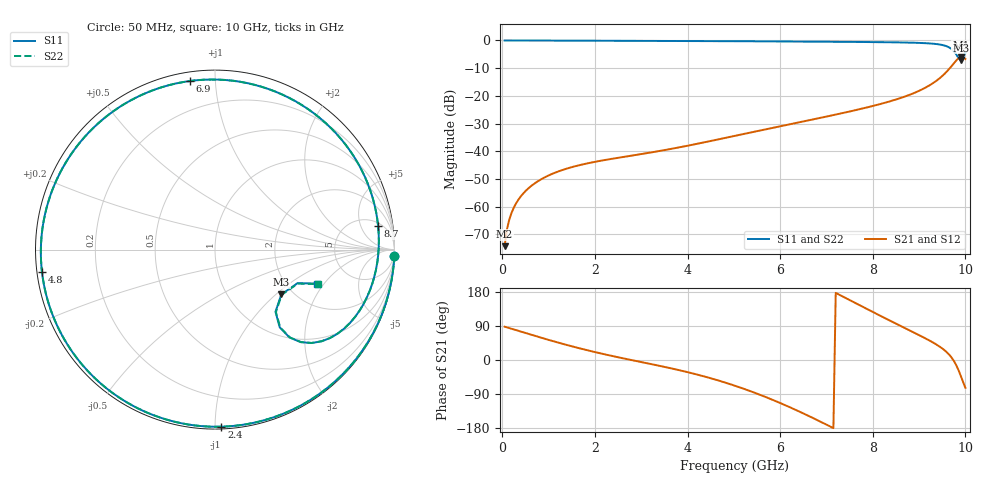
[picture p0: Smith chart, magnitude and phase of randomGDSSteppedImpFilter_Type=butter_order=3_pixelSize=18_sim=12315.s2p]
! freq	dB(S11)	phase(S11)	dB(S12)	phase(S12)
!  dB(S21)	phase(S21)	dB(S22)	phase(S22)
!S-par simulation data
#  GHz  S  DB  R 50
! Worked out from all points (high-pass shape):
!   200 points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, 50 MHz to 10 GHz, reference 50 ohm
!   highest |S21| = -6.00 dB at 9.9 GHz (marker M1); lowest = -74.2 dB at 50 MHz (marker M2)
!   |S21| within 3 dB of the highest: 9.714 GHz to end of sweep
!   lowest |S11| = -7.0 dB at 9.9 GHz (marker M3), VSWR 2.61, Z = 87.1 - j54.3 ohm
!   |S11| at or under -10 dB: nowhere
!   |S22| runs from -7.0 to 0.0 dB; largest |S21 - S12| = 0
!   S11 on the Smith chart (normalised r, x): 50 MHz: 0, -60; 2.4 GHz: 0.01, -1.04; 4.8 GHz: 0.01, -0.06; 6.9 GHz: 0.04, +0.86; 8.7 GHz: 6, +10; 10 GHz: 2.90, -1.71
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0.05  -0.00 -1.9  -74.23 87.9  -74.23 87.9  -0.00 -1.9
0.1  -0.01 -3.8  -68.21 86.1  -68.21 86.1  -0.01 -3.8
0.2  -0.01 -7.6  -62.21 82.3  -62.21 82.3  -0.01 -7.6
0.5  -0.02 -18.9  -54.36 71.1  -54.36 71.1  -0.02 -18.9
1  -0.05 -37.5  -48.71 53.0  -48.71 53.0  -0.05 -37.5
1.75  -0.08 -64.9  -44.67 28.3  -44.67 28.3  -0.08 -64.9
2.4  -0.11 -87.9  -42.62 9.9  -42.62 9.9  -0.11 -87.9
3.4  -0.16 -122.8  -39.87 -15.5  -39.87 -15.5  -0.16 -122.8
4.15  -0.20 -149.1  -37.49 -36.6  -37.49 -36.6  -0.20 -149.1
4.8  -0.25 -172.7  -35.22 -59.1  -35.22 -59.1  -0.25 -172.7
5.05  -0.27 177.9  -34.33 -69.0  -34.33 -69.0  -0.27 177.9
5.85  -0.34 145.8  -31.50 -105.8  -31.50 -105.8  -0.34 145.8
6.7  -0.43 108.0  -28.53 -152.6  -28.53 -152.6  -0.43 108.0
6.9  -0.45 98.6  -27.83 -164.5  -27.83 -164.5  -0.45 98.5
7.6  -0.53 64.0  -25.25 152.0  -25.25 152.0  -0.53 64.0
8.35  -0.65 25.9  -22.07 105.1  -22.07 105.1  -0.65 25.9
8.7  -0.74 8.2  -20.20 83.8  -20.20 83.8  -0.74 8.2
9.2  -1.04 -17.5  -16.45 53.0  -16.45 53.0  -1.04 -17.5
9.6  -2.13 -40.8  -11.19 20.3  -11.19 20.3  -2.12 -40.7
9.75  -3.86 -49.7  -8.26 -2.2  -8.26 -2.2  -3.84 -49.6
9.9  -7.01 -34.1  -6.00 -41.8  -6.00 -41.8  -6.96 -34.1
10  -4.43 -18.4  -6.70 -73.4  -6.70 -73.4  -4.40 -18.6
